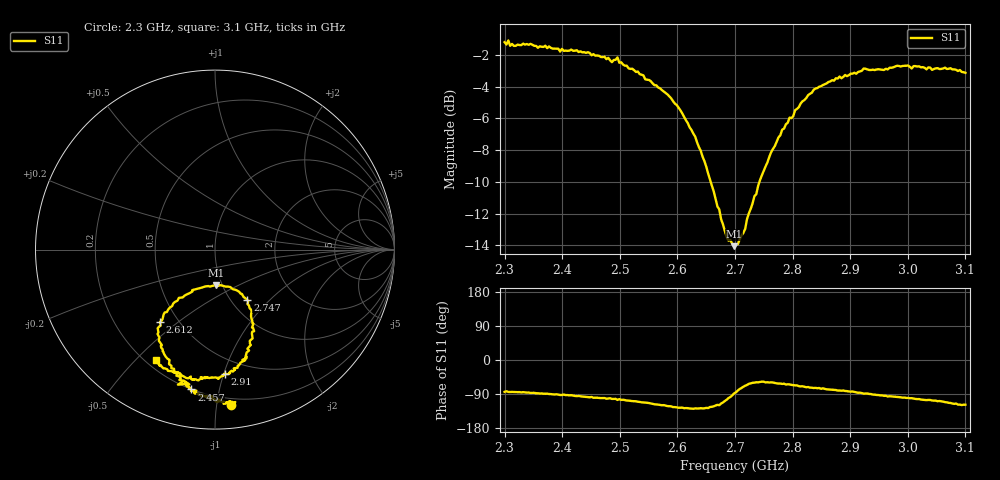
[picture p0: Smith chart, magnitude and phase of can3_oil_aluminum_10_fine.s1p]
# MHz S MA R 50
!  freq  S11
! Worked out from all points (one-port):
!   250 points, 2.3 GHz to 3.1 GHz, reference 50 ohm
!   lowest |S11| = -14.0 dB at 2.698 GHz (marker M1), VSWR 1.50, Z = 46.7 - j19.3 ohm
!   |S11| at or under -10 dB: 2.658 GHz to 2.742 GHz (84.49 MHz wide, 3.13 % of centre)
!   S11 on the Smith chart (normalised r, x): 2.3 GHz: 0.15, -1.10; 2.457 GHz: 0.20, -0.83; 2.612 GHz: 0.40, -0.43; 2.747 GHz: 1.19, -0.74; 2.91 GHz: 0.38, -1.01; 3.1 GHz: 0.24, -0.58
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2300  0.8714 -84.0
2303.213  0.8569 -82.4
2306.426  0.8824 -84.3
2309.639  0.8487 -84.5
2344.98  0.8608 -86.8
2402.811  0.8182 -91.1
2457.43  0.7904 -99.6
2483.133  0.7644 -100.8
2492.771  0.7671 -102.5
2495.984  0.7803 -105.3
2499.197  0.7507 -103.2
2502.41  0.7532 -105.3
2602.008  0.5424 -126.1
2611.647  0.507 -127.2
2653.414  0.336 -126.8
2685.542  0.2124 -104.9
2698.394  0.1986 -88.3
2701.606  0.2015 -85.2
2717.671  0.225 -67.9
2746.586  0.3316 -57.1
2801.205  0.5102 -66.3
2836.546  0.6168 -73.9
2900.803  0.6933 -83.5
2910.442  0.6932 -85.5
3000.402  0.7362 -100.0
3055.02  0.7171 -108.2
3087.149  0.7071 -117.7
3100  0.698 -118.0
